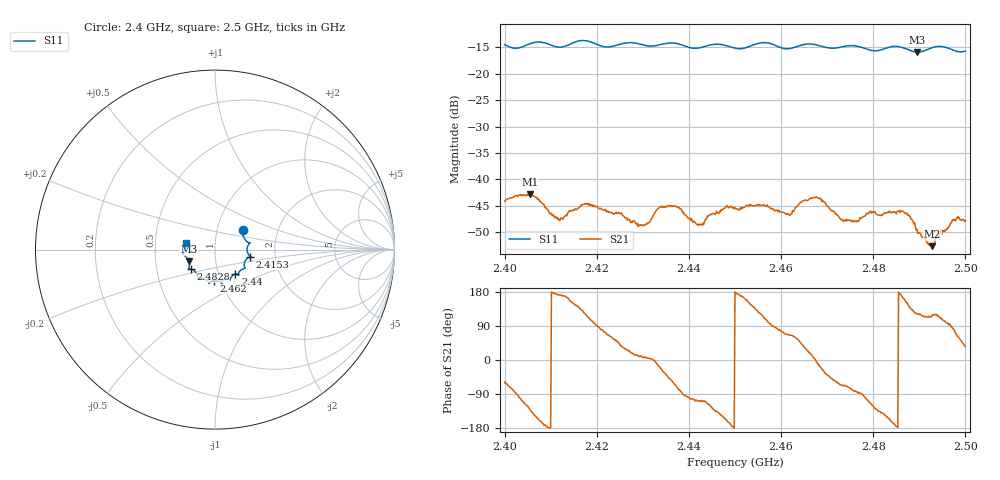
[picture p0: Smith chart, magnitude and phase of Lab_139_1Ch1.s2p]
# Hz S RI R 50
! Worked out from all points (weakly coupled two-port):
!   601 points, 2.4 GHz to 2.5 GHz, reference 50 ohm
!   highest |S21| = -42.80 dB at 2.4055 GHz (marker M1); lowest = -52.7 dB at 2.4928 GHz (marker M2)
!   lowest |S11| = -15.9 dB at 2.4895 GHz (marker M3), VSWR 1.38, Z = 37 - j4.99 ohm
!   |S11| at or under -10 dB: start of sweep to end of sweep
!   S12 and S22 are empty: the file has one direction only
!   S11 on the Smith chart (normalised r, x): 2.4 GHz: 1.33, +0.29; 2.4153 GHz: 1.48, -0.12; 2.44 GHz: 1.21, -0.34; 2.462 GHz: 0.93, -0.33; 2.4828 GHz: 0.74, -0.17; 2.5 GHz: 0.72, +0.06
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2.4e9  0.1554 0.1067  0.00327 -0.00526  0 0  0 0
2.4055e9  0.1887 0.0385  -0.00481 -0.00542  0 0  0 0
2.411667e9  0.1786 0.00453  -0.00422 0.000647  0 0  0 0
2.415333e9  0.1964 -0.0389  -0.00432 0.00302  0 0  0 0
2.416667e9  0.202 -0.0428  -0.00386 0.00424  0 0  0 0
2.4295e9  0.1576 -0.1075  0.00357 0.000669  0 0  0 0
2.433333e9  0.1308 -0.1334  0.0051 -0.00139  0 0  0 0
2.437333e9  0.1313 -0.1425  0.00185 -0.00514  0 0  0 0
2.44e9  0.1141 -0.1364  -0.000665 -0.00422  0 0  0 0
2.442667e9  0.091 -0.152  -0.00108 -0.00356  0 0  0 0
2.45e9  0.0649 -0.1624  -0.00538 8.3e-07  0 0  0 0
2.4565e9  0.0392 -0.1933  -0.00188 0.00524  0 0  0 0
2.462e9  -0.00516 -0.1732  0.00192 0.00421  0 0  0 0
2.466667e9  -0.0346 -0.1881  0.0064 0.00143  0 0  0 0
2.4735e9  -0.0845 -0.1601  0.00146 -0.0037  0 0  0 0
2.482833e9  -0.1365 -0.1093  -0.00405 -0.00253  0 0  0 0
2.483333e9  -0.1402 -0.1092  -0.00448 -0.00216  0 0  0 0
2.486833e9  -0.144 -0.0984  -0.00445 0.00172  0 0  0 0
2.4895e9  -0.1462 -0.0658  -0.00177 0.00285  0 0  0 0
2.492833e9  -0.1747 -0.0279  -0.00113 0.00203  0 0  0 0
2.497167e9  -0.1686 -0.00548  0.000399 0.00406  0 0  0 0
2.5e9  -0.1593 0.0389  0.00331 0.00232  0 0  0 0
